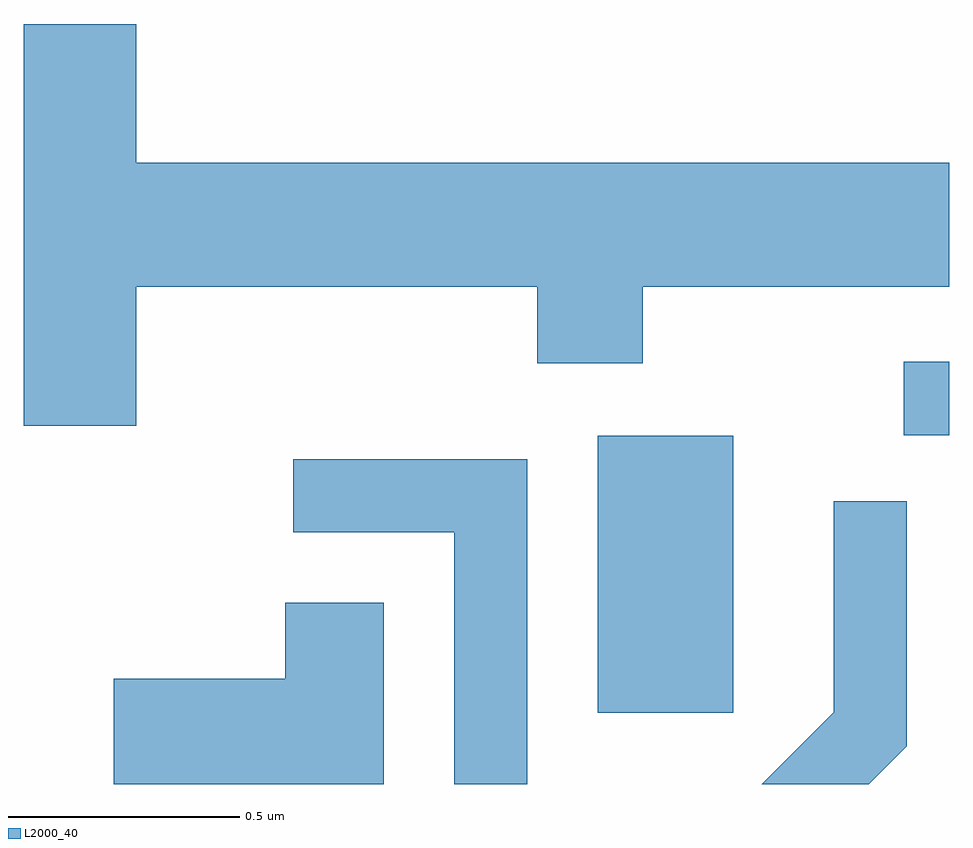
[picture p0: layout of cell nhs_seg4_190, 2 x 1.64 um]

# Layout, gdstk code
import gdstk
lib = gdstk.Library(unit=1e-6, precision=1e-09)
def R(c, l, rs):  # rectangles x0, y0, x1, y1
    for r in rs: c.add(gdstk.rectangle(r[:2], r[2:], *l))
def P(c, l, *ps):  # polygons
    for p in ps: c.add(gdstk.Polygon(p, *l))
L2000_40 = (2000, 40)

nhs_seg4_190 = lib.new_cell('nhs_seg4_190')
R(nhs_seg4_190, L2000_40, [(187.851,1307.136,188.144,1307.734), (188.513,1307.736,188.611,1307.894)])
P(nhs_seg4_190, L2000_40, [(186.854,1308.056),(187.721,1308.056),(187.721,1307.891),(187.949,1307.891),(187.949,1308.056),(188.611,1308.056),(188.611,1308.324),(186.854,1308.324),(186.854,1308.624),(186.611,1308.624),(186.611,1307.756),(186.854,1307.756)],
  [(187.699,1307.684),(187.193,1307.684),(187.193,1307.526),(187.541,1307.526),(187.541,1306.982),(187.699,1306.982)],
  [(188.519,1307.064),(188.519,1307.593),(188.361,1307.593),(188.361,1307.137),(188.206,1306.982),(188.437,1306.982)],
  [(187.389,1307.374),(187.176,1307.374),(187.176,1307.209),(186.806,1307.209),(186.806,1306.982),(187.389,1306.982)])

lib.write_gds('nhs_seg4_190.gds')
